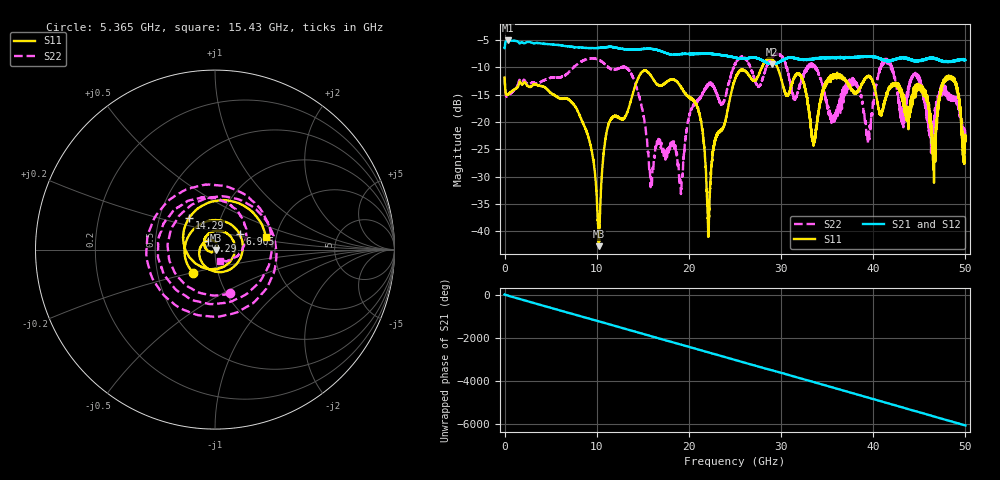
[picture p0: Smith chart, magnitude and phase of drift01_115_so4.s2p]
!Created with skrf (http://scikit-rf.org).
# Hz S RI R 50.0
!freq ReS11 ImS11 ReS21 ImS21 ReS12 ImS12 ReS22 ImS22
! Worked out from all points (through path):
!   10001 points, 300 kHz to 50 GHz, reference 50 ohm
!   highest |S21| = -5.06 dB at 390.3 MHz (marker M1); lowest = -9.4 dB at 29.04 GHz (marker M2)
!   group delay of S21, straight-line fit = 336 ps
!   lowest |S11| = -42.7 dB at 10.22 GHz (marker M3), VSWR 1.01, Z = 50.6 - j0.484 ohm
!   |S11| at or under -10 dB: start of sweep to 27.9 GHz; 29.61 GHz to end of sweep
!   |S22| runs from -33.2 to -7.5 dB; largest |S21 - S12| = 0.016
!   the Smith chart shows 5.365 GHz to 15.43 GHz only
!   S11 on the Smith chart (normalised r, x): 5.365 GHz: 0.76, -0.20; 6.905 GHz: 1.30, +0.23; 9.29 GHz: 0.92, +0.09; 14.29 GHz: 0.71, +0.27; 15.43 GHz: 1.77, +0.27
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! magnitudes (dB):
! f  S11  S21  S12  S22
! 300 kHz  -11.9  -6.5  -6.5  -11.7
! 390.3 MHz  -14.9  -5.1  -5.1  -15.2
! 5.365 GHz  -15.0  -5.8  -5.8  -11.8
! 6.905 GHz  -15.8  -6.1  -6.1  -11.0
! 8.335 GHz  -19.5  -6.4  -6.4  -8.9
! 9.29 GHz  -24.0  -6.5  -6.4  -8.3
! 10.22 GHz  -42.7  -6.4  -6.4  -8.6
! 11.23 GHz  -20.6  -6.3  -6.3  -9.9
! 14.29 GHz  -12.8  -6.7  -6.7  -13.5
! 15.43 GHz  -10.7  -6.6  -6.6  -22.9
! 16.67 GHz  -13.2  -6.9  -6.9  -23.3
! 19.14 GHz  -13.6  -7.5  -7.6  -33.1
! 20.86 GHz  -17.0  -7.5  -7.5  -16.3
! 22.13 GHz  -39.7  -7.5  -7.5  -13.3
! 25 GHz  -12.1  -8.2  -8.2  -9.5
! 29.04 GHz  -8.6  -9.4  -9.4  -8.1
! 33.34 GHz  -22.4  -8.5  -8.4  -9.6
! 39.47 GHz  -11.6  -8.0  -8.0  -22.3
! 41.67 GHz  -13.7  -8.8  -8.7  -9.0
! 46.55 GHz  -27.2  -8.3  -8.3  -20.9
! 48.58 GHz  -12.1  -8.9  -8.9  -15.8
! 50 GHz  -23.3  -8.7  -8.6  -23.1
